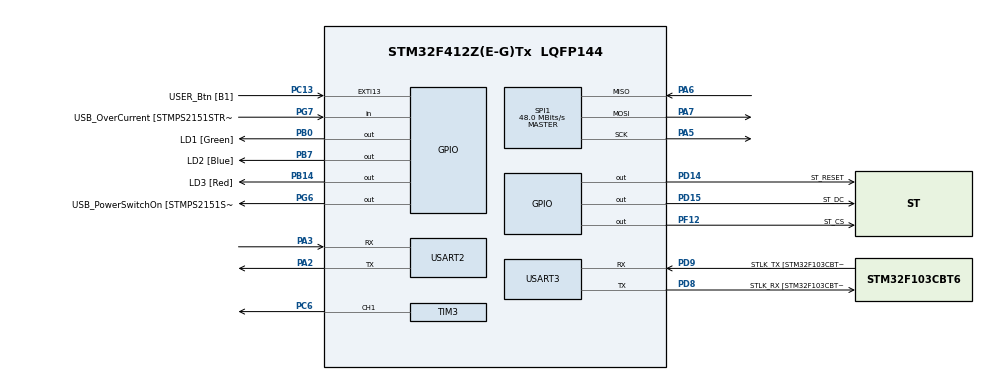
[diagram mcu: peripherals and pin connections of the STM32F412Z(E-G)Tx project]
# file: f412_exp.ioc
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FREERTOS.Queues01=commsQueue,4,data_queue,0,Dynamic,NULL,NULL
FREERTOS.Tasks01=defaultTask,24,1024,StartDefaultTask,Default,NULL,Dynamic,NULL,NULL;commsTask,24,1024,StartCommsTask,Default,NULL,Dynamic,NULL,NULL
Mcu.Family=STM32F4
Mcu.Name=STM32F412Z(E-G)Tx
Mcu.Package=LQFP144
NVIC.PriorityGroup=NVIC_PRIORITYGROUP_4
NVIC.TIM6_IRQn=true\:15\:0\:false\:false\:true\:false\:false\:true\:true
NVIC.TimeBase=TIM6_IRQn
NVIC.TimeBaseIP=TIM6
NVIC.USART2_IRQn=true\:5\:0\:false\:false\:true\:true\:true\:true\:true
NVIC.USART3_IRQn=true\:5\:0\:false\:false\:true\:true\:true\:true\:true
PA10.GPIO_Label=USB_ID
PA10.Signal=USB_OTG_FS_ID
PA11.GPIO_Label=USB_DM
PA11.Signal=USB_OTG_FS_DM
PA12.GPIO_Label=USB_DP
PA12.Signal=USB_OTG_FS_DP
PA13.GPIO_Label=TMS
PA13.Mode=Serial_Wire
PA13.Signal=SYS_JTMS-SWDIO
PA14.GPIO_Label=TCK
PA14.Mode=Serial_Wire
PA14.Signal=SYS_JTCK-SWCLK
PA2.Mode=Asynchronous
PA2.Signal=USART2_TX
PA3.Mode=Asynchronous
PA3.Signal=USART2_RX
PA5.Mode=Full_Duplex_Master
PA5.Signal=SPI1_SCK
PA6.Mode=Full_Duplex_Master
PA6.Signal=SPI1_MISO
PA7.Mode=Full_Duplex_Master
PA7.Signal=SPI1_MOSI
PA8.GPIO_Label=USB_SOF [TP1]
PA8.Signal=USB_OTG_FS_SOF
PA9.GPIO_Label=USB_VBUS
PA9.Signal=USB_OTG_FS_VBUS
PB0.GPIO_Label=LD1 [Green]
PB0.Signal=GPIO_Output
PB14.GPIO_Label=LD3 [Red]
PB14.Signal=GPIO_Output
PB3.GPIO_Label=SWO
PB3.Signal=SYS_JTDO-SWO
PB7.GPIO_Label=LD2 [Blue]
PB7.Signal=GPIO_Output
PC13.GPIO_Label=USER_Btn [B1]
PC13.Signal=GPXTI13
PC14-OSC32_IN.Mode=LSE-External-Oscillator
PC14-OSC32_IN.Signal=RCC_OSC32_IN
PC15-OSC32_OUT.Mode=LSE-External-Oscillator
PC15-OSC32_OUT.Signal=RCC_OSC32_OUT
PC6.Signal=S_TIM3_CH1
PD14.GPIO_Label=ST_RESET
PD14.Signal=GPIO_Output
PD15.GPIO_Label=ST_DC
PD15.Signal=GPIO_Output
PD8.GPIO_Label=STLK_RX [STM32F103CBT6_PA3]
PD8.Mode=Asynchronous
PD8.Signal=USART3_TX
PD9.GPIO_Label=STLK_TX [STM32F103CBT6_PA2]
PD9.Mode=Asynchronous
PD9.Signal=USART3_RX
PF12.GPIO_Label=ST_CS
PF12.Signal=GPIO_Output
PG6.GPIO_Label=USB_PowerSwitchOn [STMPS2151STR_EN]
PG6.Signal=GPIO_Output
PG7.GPIO_Label=USB_OverCurrent [STMPS2151STR_FAULT]
PG7.Signal=GPIO_Input
PH0\ -\ OSC_IN.GPIO_Label=MCO
PH0\ -\ OSC_IN.Mode=HSE-External-Clock-Source
PH0\ -\ OSC_IN.Signal=RCC_OSC_IN
PH1\ -\ OSC_OUT.Mode=HSE-External-Clock-Source
PH1\ -\ OSC_OUT.Signal=RCC_OSC_OUT
ProjectManager.HeapSize=0x200
ProjectManager.StackSize=0x400
ProjectManager.TargetToolchain=Makefile
RCC.48MHZClocksFreq_Value=24000000
RCC.AHBFreq_Value=96000000
RCC.APB1CLKDivider=RCC_HCLK_DIV2
RCC.APB1Freq_Value=48000000
RCC.APB1TimFreq_Value=96000000
RCC.APB2Freq_Value=96000000
RCC.APB2TimFreq_Value=96000000
RCC.CortexFreq_Value=96000000
RCC.HCLKFreq_Value=96000000
RCC.HSE_VALUE=8000000
RCC.HSI_VALUE=16000000
RCC.PLLM=8
RCC.PLLMUL=RCC_PLL_MUL9
RCC.PLLN=384
RCC.PLLP=RCC_PLLP_DIV4
RCC.PLLQ=8
RCC.PLLSourceVirtual=RCC_PLLSOURCE_HSE
RCC.PRESCALERUSB=RCC_USBCLKSOURCE_PLL_DIV1_5
RCC.SYSCLKFreq_VALUE=96000000
RCC.SYSCLKSource=RCC_SYSCLKSOURCE_PLLCLK
RCC.SYSCLKSourceVirtual=RCC_SYSCLKSOURCE_PLLCLK
RCC.USBFreq_Value=48000000
RCC.VCOOutputFreq_Value=384000000
SH.S_TIM3_CH1.0=TIM3_CH1,Output Compare1 CH1
SPI1.CalculateBaudRate=48.0 MBits/s
SPI1.Direction=SPI_DIRECTION_2LINES
SPI1.Mode=SPI_MODE_MASTER
SPI1.VirtualType=VM_MASTER
TIM3.Channel-Output\ Compare1\ CH1=TIM_CHANNEL_1
USART2.VirtualMode=VM_ASYNC
USART3.VirtualMode=VM_ASYNC
VP_FREERTOS_VS_CMSIS_V2.Mode=CMSIS_V2
VP_RNG_VS_RNG.Mode=RNG_Activate
VP_RTC_VS_RTC_Activate.Mode=RTC_Enabled
VP_SYS_VS_tim6.Mode=TIM6
VP_TIM3_VS_ClockSourceINT.Mode=Internal
VP_wolfSSL.I-CUBE-wolfSSL_VS_wolfSSLJjwolfSSL_4.8.0.Mode=wolfSSLJjwolfSSL
board=NUCLEO-F412ZG
wolfSSL.I-CUBE-wolfSSL.4.8.0.WOLF_CONF_AESGCM=0
wolfSSL.I-CUBE-wolfSSL.4.8.0.WOLF_CONF_CHAPOLY=0
wolfSSL.I-CUBE-wolfSSL.4.8.0.WOLF_CONF_DH=0
wolfSSL.I-CUBE-wolfSSL.4.8.0.WOLF_CONF_ECC=0
wolfSSL.I-CUBE-wolfSSL.4.8.0.WOLF_CONF_MATH=4
wolfSSL.I-CUBE-wolfSSL.4.8.0.WOLF_CONF_MD5=1
wolfSSL.I-CUBE-wolfSSL.4.8.0.WOLF_CONF_RTOS=2
wolfSSL.I-CUBE-wolfSSL.4.8.0.WOLF_CONF_SHA1=1
wolfSSL.I-CUBE-wolfSSL.4.8.0.WOLF_CONF_TLS12=0
wolfSSL.I-CUBE-wolfSSL.4.8.0.WOLF_CONF_TLS13=0
wolfSSL.I-CUBE-wolfSSL.4.8.0.WOLF_CONF_WOLFCRYPT_ONLY=1
wolfSSL.I-CUBE-wolfSSL.4.8.0.wolfSSLCcwolfSSLJjwolfCryptJjCore=true
wolfSSL.I-CUBE-wolfSSL.4.8.0.wolfSSLCcwolfSSLJjwolfCryptJjTest=true
wolfSSL.I-CUBE-wolfSSL.4.8.0.wolfSSLCcwolfSSLJjwolfSSLJjCore=true

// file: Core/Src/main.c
/* USER CODE BEGIN Header */
/**
 ******************************************************************************
 * @file           : main.c
 * @brief          : Main program body
 ******************************************************************************
 * @attention
 *
 * Copyright (c) 2022 STMicroelectronics.
 * All rights reserved.
 *
 * This software is licensed under terms that can be found in the LICENSE file
 * in the root directory of this software component.
 * If no LICENSE file comes with this software, it is provided AS-IS.
 *
 ******************************************************************************
 */
/* USER CODE END Header */
#include "main.h"
#include "cmsis_os.h"

/* USER CODE BEGIN PTD */
typedef struct data_queue_t
{
  char buf[MSG_BUF_SIZE];
} data_queue;

/* USER CODE END PTD */

RNG_HandleTypeDef hrng;

RTC_HandleTypeDef hrtc;

SPI_HandleTypeDef hspi1;

TIM_HandleTypeDef htim3;

UART_HandleTypeDef huart2;
UART_HandleTypeDef huart3;

/* Definitions for defaultTask */
osThreadId_t defaultTaskHandle;
const osThreadAttr_t defaultTask_attributes = {
  .name = "defaultTask",
  .stack_size = 1024 * 4,
  .priority = (osPriority_t)osPriorityNormal,
};
/* Definitions for commsTask */
osThreadId_t commsTaskHandle;
const osThreadAttr_t commsTask_attributes = {
  .name = "commsTask",
  .stack_size = 1024 * 4,
  .priority = (osPriority_t)osPriorityNormal,
};
/* Definitions for commsQueue */
osMessageQueueId_t commsQueueHandle;
const osMessageQueueAttr_t commsQueue_attributes = { .name = "commsQueue" };
/* USER CODE BEGIN PV */
extern char* esp_read_buf;
extern char uart_line_buffer[];
extern totp_service service_list[];
extern int service_count;
extern long epoch_global;

const totp_service service1 = { "abcdefgh", "12345678" };

/* USER CODE END PV */

void
SystemClock_Config(void);
static void
MX_GPIO_Init(void);
static void
MX_USART3_UART_Init(void);
static void
MX_RNG_Init(void);
static void
MX_USART2_UART_Init(void);
static void
MX_SPI1_Init(void);
static void
MX_TIM3_Init(void);
static void
MX_RTC_Init(void);
void
StartDefaultTask(void* argument);
void
StartCommsTask(void* argument);

int
main(void)
{

  /* MCU Configuration--------------------------------------------------------*/

  /* Reset of all peripherals, Initializes the Flash interface and the Systick.
   */
  HAL_Init();

  /* Configure the system clock */
  SystemClock_Config();

  /* Initialize all configured peripherals */
  MX_GPIO_Init();
  MX_USART3_UART_Init();
  MX_RNG_Init();
  MX_USART2_UART_Init();
  MX_SPI1_Init();
  MX_TIM3_Init();
  MX_RTC_Init();
  /* USER CODE BEGIN 2 */
  // util_usart_printstr("[STM32F412ZG]Starting...\r\n");
  printf("[STM32F412ZG]Starting...\r\n");

  /* USER CODE END 2 */

  /* Init scheduler */
  osKernelInitialize();

  /* Create the queue(s) */
  /* creation of commsQueue */
  commsQueueHandle =
    osMessageQueueNew(4, sizeof(data_queue), &commsQueue_attributes);

  /* Create the thread(s) */
  /* creation of defaultTask */
  defaultTaskHandle =
    osThreadNew(StartDefaultTask, NULL, &defaultTask_attributes);

  /* creation of commsTask */
  commsTaskHandle = osThreadNew(StartCommsTask, NULL, &commsTask_attributes);

  /* Start scheduler */
  osKernelStart();

  /* We should never get here as control is now taken by the scheduler */
  /* Infinite loop */
  while (1) {

  }
}

void
SystemClock_Config(void)
{
  RCC_OscInitTypeDef RCC_OscInitStruct = { 0 };
  RCC_ClkInitTypeDef RCC_ClkInitStruct = { 0 };

  /** Configure the main internal regulator output voltage
   */
  __HAL_RCC_PWR_CLK_ENABLE();
  __HAL_PWR_VOLTAGESCALING_CONFIG(PWR_REGULATOR_VOLTAGE_SCALE1);

  /** Initializes the RCC Oscillators according to the specified parameters
   * in the RCC_OscInitTypeDef structure.
   */
  RCC_OscInitStruct.OscillatorType =
    RCC_OSCILLATORTYPE_LSI | RCC_OSCILLATORTYPE_HSE;
  RCC_OscInitStruct.HSEState = RCC_HSE_BYPASS;
  RCC_OscInitStruct.LSEState = RCC_LSE_ON;
  RCC_OscInitStruct.LSIState = RCC_LSI_ON;
  RCC_OscInitStruct.PLL.PLLState = RCC_PLL_ON;
  RCC_OscInitStruct.PLL.PLLSource = RCC_PLLSOURCE_HSE;
  RCC_OscInitStruct.PLL.PLLM = 8;
  RCC_OscInitStruct.PLL.PLLN = 384;
  RCC_OscInitStruct.PLL.PLLP = RCC_PLLP_DIV4;
  RCC_OscInitStruct.PLL.PLLQ = 8;
  RCC_OscInitStruct.PLL.PLLR = 2;
  if (HAL_RCC_OscConfig(&RCC_OscInitStruct) != HAL_OK) {
    Error_Handler();
  }

  /** Initializes the CPU, AHB and APB buses clocks
   */
  RCC_ClkInitStruct.ClockType = RCC_CLOCKTYPE_HCLK | RCC_CLOCKTYPE_SYSCLK |
                                RCC_CLOCKTYPE_PCLK1 | RCC_CLOCKTYPE_PCLK2;
  RCC_ClkInitStruct.SYSCLKSource = RCC_SYSCLKSOURCE_PLLCLK;
  RCC_ClkInitStruct.AHBCLKDivider = RCC_SYSCLK_DIV1;
  RCC_ClkInitStruct.APB1CLKDivider = RCC_HCLK_DIV2;
  RCC_ClkInitStruct.APB2CLKDivider = RCC_HCLK_DIV1;

  if (HAL_RCC_ClockConfig(&RCC_ClkInitStruct, FLASH_LATENCY_3) != HAL_OK) {
    Error_Handler();
  }
}

static void
MX_RNG_Init(void)
{

  hrng.Instance = RNG;
  if (HAL_RNG_Init(&hrng) != HAL_OK) {
    Error_Handler();
  }
}

static void
MX_RTC_Init(void)
{

  /** Initialize RTC Only
   */
  hrtc.Instance = RTC;
  hrtc.Init.HourFormat = RTC_HOURFORMAT_24;
  hrtc.Init.AsynchPrediv = 127;
  hrtc.Init.SynchPrediv = 255;
  hrtc.Init.OutPut = RTC_OUTPUT_DISABLE;
  hrtc.Init.OutPutPolarity = RTC_OUTPUT_POLARITY_HIGH;
  hrtc.Init.OutPutType = RTC_OUTPUT_TYPE_OPENDRAIN;
  if (HAL_RTC_Init(&hrtc) != HAL_OK) {
    Error_Handler();
  }
}

static void
MX_SPI1_Init(void)
{

  /* SPI1 parameter configuration*/
  hspi1.Instance = SPI1;
  hspi1.Init.Mode = SPI_MODE_MASTER;
  hspi1.Init.Direction = SPI_DIRECTION_2LINES;
  hspi1.Init.DataSize = SPI_DATASIZE_8BIT;
  hspi1.Init.CLKPolarity = SPI_POLARITY_LOW;
  hspi1.Init.CLKPhase = SPI_PHASE_1EDGE;
  hspi1.Init.NSS = SPI_NSS_SOFT;
  hspi1.Init.BaudRatePrescaler = SPI_BAUDRATEPRESCALER_2;
  hspi1.Init.FirstBit = SPI_FIRSTBIT_MSB;
  hspi1.Init.TIMode = SPI_TIMODE_DISABLE;
  hspi1.Init.CRCCalculation = SPI_CRCCALCULATION_DISABLE;
  hspi1.Init.CRCPolynomial = 10;
  if (HAL_SPI_Init(&hspi1) != HAL_OK) {
    Error_Handler();
  }
}

static void
MX_TIM3_Init(void)
{

  TIM_ClockConfigTypeDef sClockSourceConfig = { 0 };
  TIM_MasterConfigTypeDef sMasterConfig = { 0 };
  TIM_OC_InitTypeDef sConfigOC = { 0 };

  htim3.Instance = TIM3;
  htim3.Init.Prescaler = 0;
  htim3.Init.CounterMode = TIM_COUNTERMODE_UP;
  htim3.Init.Period = 65535;
  htim3.Init.ClockDivision = TIM_CLOCKDIVISION_DIV1;
  htim3.Init.AutoReloadPreload = TIM_AUTORELOAD_PRELOAD_DISABLE;
  if (HAL_TIM_Base_Init(&htim3) != HAL_OK) {
    Error_Handler();
  }
  sClockSourceConfig.ClockSource = TIM_CLOCKSOURCE_INTERNAL;
  if (HAL_TIM_ConfigClockSource(&htim3, &sClockSourceConfig) != HAL_OK) {
    Error_Handler();
  }
  if (HAL_TIM_OC_Init(&htim3) != HAL_OK) {
    Error_Handler();
  }
  sMasterConfig.MasterOutputTrigger = TIM_TRGO_RESET;
  sMasterConfig.MasterSlaveMode = TIM_MASTERSLAVEMODE_DISABLE;
  if (HAL_TIMEx_MasterConfigSynchronization(&htim3, &sMasterConfig) != HAL_OK) {
    Error_Handler();
  }
  sConfigOC.OCMode = TIM_OCMODE_TIMING;
  sConfigOC.Pulse = 0;
  sConfigOC.OCPolarity = TIM_OCPOLARITY_HIGH;
  sConfigOC.OCFastMode = TIM_OCFAST_DISABLE;
  if (HAL_TIM_OC_ConfigChannel(&htim3, &sConfigOC, TIM_CHANNEL_1) != HAL_OK) {
    Error_Handler();
  }
  HAL_TIM_MspPostInit(&htim3);
}

static void
MX_USART2_UART_Init(void)
{

  huart2.Instance = USART2;
  huart2.Init.BaudRate = 115200;
  huart2.Init.WordLength = UART_WORDLENGTH_8B;
  huart2.Init.StopBits = UART_STOPBITS_1;
  huart2.Init.Parity = UART_PARITY_NONE;
  huart2.Init.Mode = UART_MODE_TX_RX;
  huart2.Init.HwFlowCtl = UART_HWCONTROL_NONE;
  huart2.Init.OverSampling = UART_OVERSAMPLING_16;
  if (HAL_UART_Init(&huart2) != HAL_OK) {
    Error_Handler();
  }
}

static void
MX_USART3_UART_Init(void)
{

  huart3.Instance = USART3;
  huart3.Init.BaudRate = 115200;
  huart3.Init.WordLength = UART_WORDLENGTH_8B;
  huart3.Init.StopBits = UART_STOPBITS_1;
  huart3.Init.Parity = UART_PARITY_NONE;
  huart3.Init.Mode = UART_MODE_TX_RX;
  huart3.Init.HwFlowCtl = UART_HWCONTROL_NONE;
  huart3.Init.OverSampling = UART_OVERSAMPLING_16;
  if (HAL_UART_Init(&huart3) != HAL_OK) {
    Error_Handler();
  }
}

static void
MX_GPIO_Init(void)
{
  GPIO_InitTypeDef GPIO_InitStruct = { 0 };

  /* GPIO Ports Clock Enable */
  __HAL_RCC_GPIOC_CLK_ENABLE();
  __HAL_RCC_GPIOH_CLK_ENABLE();
  __HAL_RCC_GPIOA_CLK_ENABLE();
  __HAL_RCC_GPIOB_CLK_ENABLE();
  __HAL_RCC_GPIOF_CLK_ENABLE();
  __HAL_RCC_GPIOD_CLK_ENABLE();
  __HAL_RCC_GPIOG_CLK_ENABLE();

  /*Configure GPIO pin Output Level */
  HAL_GPIO_WritePin(GPIOB, LD1_Pin | LD3_Pin | LD2_Pin, GPIO_PIN_RESET);

  /*Configure GPIO pin Output Level */
  HAL_GPIO_WritePin(ST_CS_GPIO_Port, ST_CS_Pin, GPIO_PIN_RESET);

  /*Configure GPIO pin Output Level */
  HAL_GPIO_WritePin(GPIOD, ST_RESET_Pin | ST_DC_Pin, GPIO_PIN_RESET);

  /*Configure GPIO pin Output Level */
  HAL_GPIO_WritePin(
    USB_PowerSwitchOn_GPIO_Port, USB_PowerSwitchOn_Pin, GPIO_PIN_RESET);

  /*Configure GPIO pin : USER_Btn_Pin */
  GPIO_InitStruct.Pin = USER_Btn_Pin;
  GPIO_InitStruct.Mode = GPIO_MODE_IT_RISING;
  GPIO_InitStruct.Pull = GPIO_NOPULL;
  HAL_GPIO_Init(USER_Btn_GPIO_Port, &GPIO_InitStruct);

  /*Configure GPIO pins : LD1_Pin LD3_Pin LD2_Pin */
  GPIO_InitStruct.Pin = LD1_Pin | LD3_Pin | LD2_Pin;
  GPIO_InitStruct.Mode = GPIO_MODE_OUTPUT_PP;
  GPIO_InitStruct.Pull = GPIO_NOPULL;
  GPIO_InitStruct.Speed = GPIO_SPEED_FREQ_LOW;
  HAL_GPIO_Init(GPIOB, &GPIO_InitStruct);

  /*Configure GPIO pin : ST_CS_Pin */
  GPIO_InitStruct.Pin = ST_CS_Pin;
  GPIO_InitStruct.Mode = GPIO_MODE_OUTPUT_PP;
  GPIO_InitStruct.Pull = GPIO_NOPULL;
  GPIO_InitStruct.Speed = GPIO_SPEED_FREQ_LOW;
  HAL_GPIO_Init(ST_CS_GPIO_Port, &GPIO_InitStruct);

  /*Configure GPIO pins : ST_RESET_Pin ST_DC_Pin */
  GPIO_InitStruct.Pin = ST_RESET_Pin | ST_DC_Pin;
  GPIO_InitStruct.Mode = GPIO_MODE_OUTPUT_PP;
  GPIO_InitStruct.Pull = GPIO_NOPULL;
  GPIO_InitStruct.Speed = GPIO_SPEED_FREQ_LOW;
  HAL_GPIO_Init(GPIOD, &GPIO_InitStruct);

  /*Configure GPIO pin : USB_PowerSwitchOn_Pin */
  GPIO_InitStruct.Pin = USB_PowerSwitchOn_Pin;
  GPIO_InitStruct.Mode = GPIO_MODE_OUTPUT_PP;
  GPIO_InitStruct.Pull = GPIO_NOPULL;
  GPIO_InitStruct.Speed = GPIO_SPEED_FREQ_LOW;
  HAL_GPIO_Init(USB_PowerSwitchOn_GPIO_Port, &GPIO_InitStruct);

  /*Configure GPIO pin : USB_OverCurrent_Pin */
  GPIO_InitStruct.Pin = USB_OverCurrent_Pin;
  GPIO_InitStruct.Mode = GPIO_MODE_INPUT;
  GPIO_InitStruct.Pull = GPIO_NOPULL;
  HAL_GPIO_Init(USB_OverCurrent_GPIO_Port, &GPIO_InitStruct);

  /*Configure GPIO pins : USB_SOF_Pin USB_ID_Pin USB_DM_Pin USB_DP_Pin */
  GPIO_InitStruct.Pin = USB_SOF_Pin | USB_ID_Pin | USB_DM_Pin | USB_DP_Pin;
  GPIO_InitStruct.Mode = GPIO_MODE_AF_PP;
  GPIO_InitStruct.Pull = GPIO_NOPULL;
  GPIO_InitStruct.Speed = GPIO_SPEED_FREQ_VERY_HIGH;
  GPIO_InitStruct.Alternate = GPIO_AF10_OTG_FS;
  HAL_GPIO_Init(GPIOA, &GPIO_InitStruct);
}

void
StartDefaultTask(void* argument)
{
  /* USER CODE BEGIN 5 */
  eeprom_data_init();
  // eeprom_test();

  util_display_init();

  byte hmac256_digest[SHA256_DIGEST_SIZE] = "";
  byte hmac1_digest[SHA_DIGEST_SIZE] = "";
  char hmac1_digest_formatted[SHA_DIGEST_SIZE * 2] = "";
  int totp_res = 0;
  int epoch_time = 0;

  /* Check if have existing conf */

  int stored_entries = eeprom_stat();
  if (stored_entries > 0) {
    // If found stored service data
    printf("Loading %d entries from EEPROM\n", stored_entries);
    for (int i = 0; i < stored_entries; i++) {
      eeprom_read_service(&service_list[i], i);
      printf("Name=%s, Secret=%s\n", service_list[i].name, service_list[i].key);
    }
    service_count = stored_entries;
  } else {
    printf("No entries found in EEPROM! Please input data to continue...\n");
    /* Update epoch time */
    epoch_time = 0;
    data_queue dqueue;

    char conf_raw[1024] = "";
    time_t time_received = 0U;

    /* Get conf */
    osMessageQueueGet(commsQueueHandle, &dqueue, NULL, osWaitForever);
    strncpy(conf_raw, dqueue.buf, max(64, MSG_BUF_SIZE));
    printf("\nGot conf text: %s\n", conf_raw);

    util_parse_conf(conf_raw, strlen(conf_raw));

    for (int i = 0; i < service_count; i++) {
      eeprom_store_service(&service_list[i]);
    }

    eeprom_update_index();
  }

  while (1) {
    util_display_totp_multi(service_list, service_count);
    epoch_global++;
    osDelay(1000);
  }
  for (;;) {
    osDelay(1);
  }
  /* USER CODE END 5 */
}

void
StartCommsTask(void* argument)
{
  /* USER CODE BEGIN StartCommsTask */
  data_queue dqueue;
  const char data_start_key[] = "key=";
  const char data_start_time[] = "time=";
  const char conf_start[] = "?";

  while (util_str_starts_with(uart_line_buffer, conf_start) != 0) {
    util_usart_readline(uart_line_buffer);
  }
  util_usart_printf("\n%s\n", uart_line_buffer);
  strcpy(dqueue.buf, uart_line_buffer);
  osMessageQueuePut(commsQueueHandle, dqueue.buf, NULL, osWaitForever);

  // rtc_demo();

  /* Infinite loop */
  for (;;) {
    osDelay(1);
  }
  /* USER CODE END StartCommsTask */
}

void
HAL_TIM_PeriodElapsedCallback(TIM_HandleTypeDef* htim)
{
  if (htim->Instance == TIM6) {
    HAL_IncTick();
  }
}

void
Error_Handler(void)
{
  /* USER CODE BEGIN Error_Handler_Debug */
  /* User can add his own implementation to report the HAL error return state
   */
  printf("Error! ");
  __disable_irq();
  while (1) {
  }
  /* USER CODE END Error_Handler_Debug */
}

#ifdef USE_FULL_ASSERT
/**
 * @brief  Reports the name of the source file and the source line number
 *         where the assert_param error has occurred.
 * @param  file: pointer to the source file name
 * @param  line: assert_param error line source number
 * @retval None
 */
void
assert_failed(uint8_t* file, uint32_t line)
{
  /* USER CODE BEGIN 6 */
  /* User can add his own implementation to report the file name and line
     number, ex: printf("Wrong parameters value: file %s on line %d\r\n", file,
     line) */
  /* USER CODE END 6 */
}
#endif /* USE_FULL_ASSERT */
